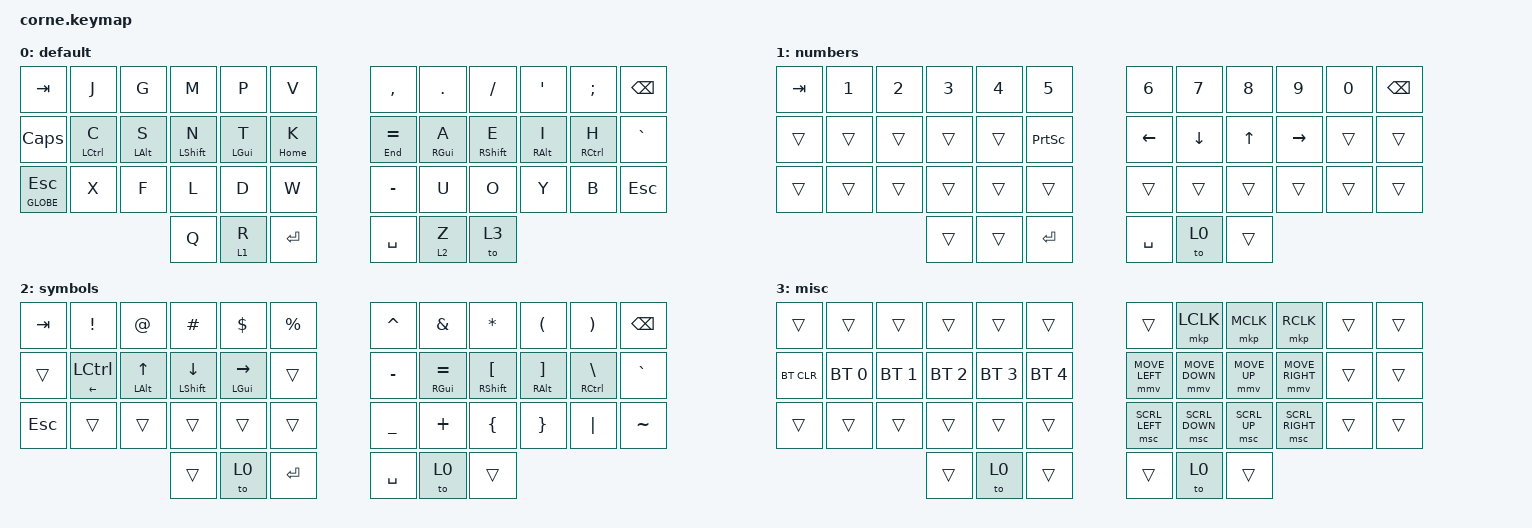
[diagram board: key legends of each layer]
/*
 * Copyright (c) 2020 The ZMK Contributors
 *
 * SPDX-License-Identifier: MIT
 */

#include <behaviors.dtsi>
#include <dt-bindings/zmk/bt.h>
#include <dt-bindings/zmk/keys.h>
#include <dt-bindings/zmk/pointing.h>

&mt {
    flavor = "balanced";
    require-prior-idle-ms = <150>;
    tapping-term-ms = <225>;
    quick-tap-ms = <150>;
};

/ {
    combos {
        compatible = "zmk,combos";

        to_default {
            bindings = <&to 0>;
            key-positions = <17 18>;
        };

        z {
            bindings = <&kp Z>;
            key-positions = <1 2>;
        };

        q {
            bindings = <&kp Q>;
            key-positions = <2 4>;
        };
    };

    behaviors {
        lpht: lpht {
            compatible = "zmk,behavior-hold-tap";
            bindings = <&kp>, <&kp>;

            #binding-cells = <2>;
            tapping-term-ms = <225>;
            require-prior-idle-ms = <150>;
            flavor = "balanced";
            hold-trigger-on-release;
            hold-trigger-key-positions = <6 7 8 9 10 11 18 19 20 21 22 23 30 31 32 33 34 35 39 40 41>;
            quick-tap-ms = <150>;
        };

        rpht: rpht {
            compatible = "zmk,behavior-hold-tap";
            bindings = <&kp>, <&kp>;

            #binding-cells = <2>;
            tapping-term-ms = <225>;
            require-prior-idle-ms = <150>;
            flavor = "balanced";
            hold-trigger-key-positions = <0 1 2 3 4 5 12 13 14 15 16 17 24 25 26 27 28 29 36 37 38>;
            hold-trigger-on-release;
            quick-tap-ms = <150>;
        };
    };

    keymap {
        compatible = "zmk,keymap";

        default {
            bindings = <
&kp TAB        &kp J          &kp G             &kp M           &kp P         &kp V         &kp COMMA      &kp DOT       &kp SLASH       &kp SQT            &kp SEMICOLON  &kp BSPC
&kp CAPS       &lpht LCTRL C  &lpht LEFT_ALT S  &lpht LSHIFT N  &lpht LGUI T  &mt HOME K    &mt END EQUAL  &rpht RGUI A  &rpht RSHIFT E  &rpht RIGHT_ALT I  &rpht RCTRL H  &kp GRAVE
&mt GLOBE ESC  &kp X          &kp F             &kp L           &kp D         &kp W         &kp MINUS      &kp U         &kp O           &kp Y              &kp B          &kp ESC
                                                &kp Q           &lt 1 R       &kp ENTER     &kp SPACE      &lt 2 Z       &to 3
            >;

            display-name = "default";
        };

        numbers {
            bindings = <
&kp TAB  &kp N1  &kp N2  &kp N3  &kp N4  &kp N5             &kp N6     &kp N7    &kp N8  &kp N9     &kp N0  &kp BSPC
&trans   &trans  &trans  &trans  &trans  &kp PRINTSCREEN    &kp LEFT   &kp DOWN  &kp UP  &kp RIGHT  &trans  &trans
&trans   &trans  &trans  &trans  &trans  &trans             &trans     &trans    &trans  &trans     &trans  &trans
                         &trans  &trans  &kp ENTER          &kp SPACE  &to 0     &trans
            >;

            display-name = "numbers";
        };

        symbols {
            bindings = <
&kp TAB  &kp EXCL        &kp AT           &kp HASH         &kp DLLR        &kp PRCNT    &kp CARET  &kp AMPS        &kp ASTRK       &kp LPAR       &kp RPAR        &kp BSPC
&trans   &mt LEFT LCTRL  &mt LEFT_ALT UP  &mt LSHIFT DOWN  &mt LGUI RIGHT  &trans       &kp MINUS  &mt RGUI EQUAL  &mt RSHFT LBKT  &mt RALT RBKT  &mt RCTRL BSLH  &kp GRAVE
&kp ESC  &trans          &trans           &trans           &trans          &trans       &kp UNDER  &kp PLUS        &kp LBRC        &kp RBRC       &kp PIPE        &kp TILDE
                                          &trans           &to 0           &kp ENTER    &kp SPACE  &to 0           &trans
            >;

            display-name = "symbols";
        };

        misc {
            bindings = <
&trans      &trans        &trans        &trans        &trans        &trans          &trans          &mkp LCLK       &mkp MCLK     &mkp RCLK        &trans  &trans
&bt BT_CLR  &bt BT_SEL 0  &bt BT_SEL 1  &bt BT_SEL 2  &bt BT_SEL 3  &bt BT_SEL 4    &mmv MOVE_LEFT  &mmv MOVE_DOWN  &mmv MOVE_UP  &mmv MOVE_RIGHT  &trans  &trans
&trans      &trans        &trans        &trans        &trans        &trans          &msc SCRL_LEFT  &msc SCRL_DOWN  &msc SCRL_UP  &msc SCRL_RIGHT  &trans  &trans
                                        &trans        &to 0         &trans          &trans          &to 0           &trans
            >;

            display-name = "misc";
        };
    };
};
